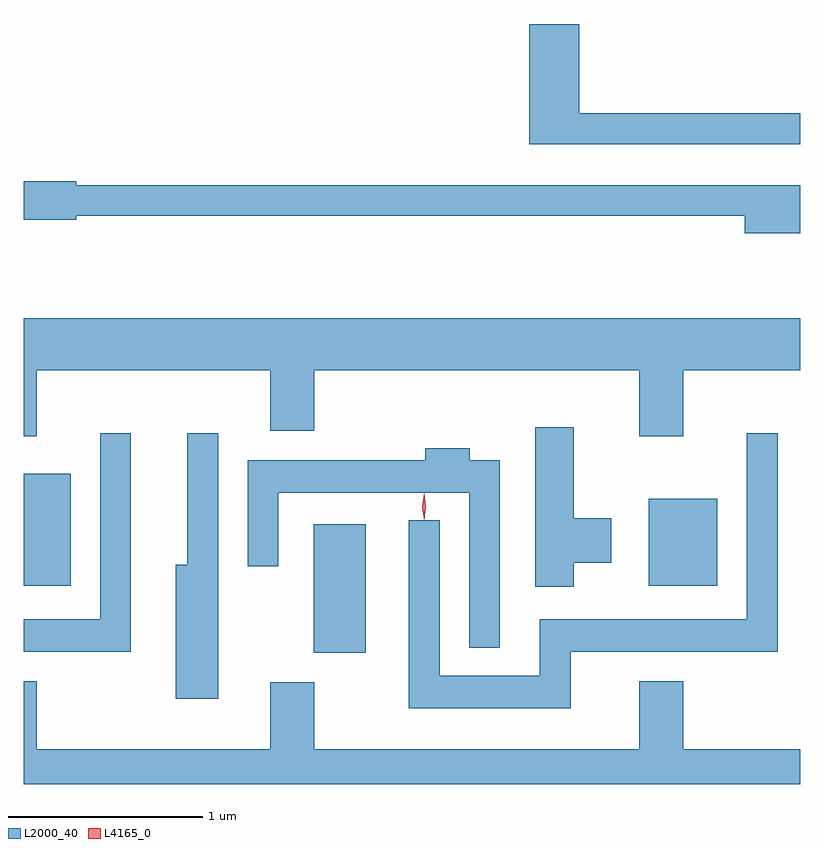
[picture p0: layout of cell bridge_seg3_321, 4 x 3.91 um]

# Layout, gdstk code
import gdstk
lib = gdstk.Library(unit=1e-6, precision=1e-09)
def R(c, l, rs):  # rectangles x0, y0, x1, y1
    for r in rs: c.add(gdstk.rectangle(r[:2], r[2:], *l))
def P(c, l, *ps):  # polygons
    for p in ps: c.add(gdstk.Polygon(p, *l))
L2000_40 = (2000, 40)
L4165_0 = (4165, 0)

bridge_seg3_321 = lib.new_cell('bridge_seg3_321')
R(bridge_seg3_321, L2000_40, [(581.936,1195.601,582.204,1196.264), (580.442,1195.946,580.684,1196.524), (583.661,1195.946,584.014,1196.394)])
P(bridge_seg3_321, L2000_40, [(584.442,1198.379),(583.304,1198.379),(583.304,1198.839),(583.046,1198.839),(583.046,1198.221),(584.442,1198.221)],
  [(584.442,1198.009),(580.714,1198.009),(580.714,1198.029),(580.442,1198.029),(580.442,1197.831),(580.714,1197.831),(580.714,1197.851),(584.156,1197.851),(584.156,1197.761),(584.442,1197.761)],
  [(580.509,1197.056),(581.711,1197.056),(581.711,1196.746),(581.939,1196.746),(581.939,1197.056),(583.611,1197.056),(583.611,1196.716),(583.839,1196.716),(583.839,1197.056),(584.442,1197.056),(584.442,1197.324),(580.442,1197.324),(580.442,1196.716),(580.509,1196.716)],
  [(583.274,1196.066),(583.469,1196.066),(583.469,1196.294),(583.274,1196.294),(583.274,1196.764),(583.076,1196.764),(583.076,1195.941),(583.274,1195.941)],
  [(581.444,1196.733),(581.286,1196.733),(581.286,1196.054),(581.226,1196.054),(581.226,1195.366),(581.444,1195.366)],
  [(580.994,1196.733),(580.836,1196.733),(580.836,1195.774),(580.442,1195.774),(580.442,1195.606),(580.994,1195.606)],
  [(583.259,1195.606),(584.324,1195.606),(584.324,1196.733),(584.166,1196.733),(584.166,1195.774),(583.101,1195.774),(583.101,1195.484),(582.584,1195.484),(582.584,1196.283),(582.426,1196.283),(582.426,1195.316),(583.259,1195.316)],
  [(582.894,1196.594),(582.739,1196.594),(582.739,1196.654),(582.511,1196.654),(582.511,1196.594),(581.596,1196.594),(581.596,1196.048),(581.754,1196.048),(581.754,1196.426),(582.736,1196.426),(582.736,1195.628),(582.894,1195.628)],
  [(584.442,1195.104),(583.839,1195.104),(583.839,1195.454),(583.611,1195.454),(583.611,1195.104),(581.939,1195.104),(581.939,1195.449),(581.711,1195.449),(581.711,1195.104),(580.509,1195.104),(580.509,1195.454),(580.442,1195.454),(580.442,1194.926),(584.442,1194.926)])
P(bridge_seg3_321, L4165_0, [(582.504,1196.284),(582.504,1196.284),(582.494,1196.353),(582.504,1196.422),(582.504,1196.423),(582.505,1196.422),(582.514,1196.353),(582.505,1196.284)],
  [(582.504,1196.287),(582.504,1196.288),(582.494,1196.354),(582.504,1196.42),(582.504,1196.421),(582.505,1196.42),(582.514,1196.354),(582.505,1196.288)])

lib.write_gds('bridge_seg3_321.gds')
